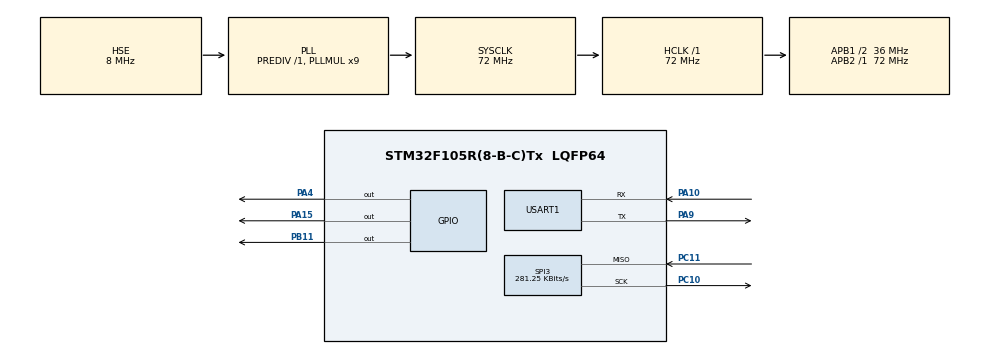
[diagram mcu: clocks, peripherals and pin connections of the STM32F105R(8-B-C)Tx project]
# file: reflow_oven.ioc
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Dma.Request0=USART1_RX
Dma.USART1_RX.0.Direction=DMA_PERIPH_TO_MEMORY
Dma.USART1_RX.0.Instance=DMA1_Channel5
Dma.USART1_RX.0.MemDataAlignment=DMA_MDATAALIGN_BYTE
Dma.USART1_RX.0.MemInc=DMA_MINC_ENABLE
Dma.USART1_RX.0.Mode=DMA_CIRCULAR
Dma.USART1_RX.0.PeriphDataAlignment=DMA_PDATAALIGN_BYTE
Dma.USART1_RX.0.PeriphInc=DMA_PINC_DISABLE
Dma.USART1_RX.0.Priority=DMA_PRIORITY_LOW
FREERTOS.Tasks01=defaultTask,0,128,StartDefaultTask,Default,NULL
Mcu.Family=STM32F1
Mcu.Name=STM32F105R(8-B-C)Tx
Mcu.Package=LQFP64
NVIC.DMA1_Channel5_IRQn=true\:5\:0\:false\:false\:true\:true\:false\:true
NVIC.PriorityGroup=NVIC_PRIORITYGROUP_4
NVIC.USART1_IRQn=true\:5\:0\:false\:false\:true\:true\:true\:true
PA10.Mode=Asynchronous
PA10.Signal=USART1_RX
PA13.Mode=Trace_Asynchronous_SW
PA13.Signal=SYS_JTMS-SWDIO
PA14.Mode=Trace_Asynchronous_SW
PA14.Signal=SYS_JTCK-SWCLK
PA15.Signal=GPIO_Output
PA4.Signal=GPIO_Output
PA9.Mode=Asynchronous
PA9.Signal=USART1_TX
PB11.Signal=GPIO_Output
PB3.Mode=Trace_Asynchronous_SW
PB3.Signal=SYS_TRACESWO
PC10.Mode=RX_Only_Simplex_Unidirect_Master
PC10.Signal=SPI3_SCK
PC11.Mode=RX_Only_Simplex_Unidirect_Master
PC11.Signal=SPI3_MISO
PC14-OSC32_IN.Mode=LSE-External-Oscillator
PC14-OSC32_IN.Signal=RCC_OSC32_IN
PC15-OSC32_OUT.Mode=LSE-External-Oscillator
PC15-OSC32_OUT.Signal=RCC_OSC32_OUT
PD0-OSC_IN.Mode=HSE-External-Oscillator
PD0-OSC_IN.Signal=RCC_OSC_IN
PD1-OSC_OUT.Mode=HSE-External-Oscillator
PD1-OSC_OUT.Signal=RCC_OSC_OUT
ProjectManager.HeapSize=0x200
ProjectManager.StackSize=0x400
ProjectManager.TargetToolchain=MDK-ARM V5
RCC.AHBFreq_Value=72000000
RCC.APB1CLKDivider=RCC_HCLK_DIV2
RCC.APB1Freq_Value=36000000
RCC.APB1TimFreq_Value=72000000
RCC.APB2Freq_Value=72000000
RCC.APB2TimFreq_Value=72000000
RCC.HCLKFreq_Value=72000000
RCC.PLLMUL=RCC_PLL_MUL9
RCC.PLLSourceVirtual=RCC_PLLSOURCE_HSE
RCC.RTCClockSelection=RCC_RTCCLKSOURCE_LSE
RCC.SYSCLKFreq_VALUE=72000000
RCC.SYSCLKSource=RCC_SYSCLKSOURCE_PLLCLK
RCC.USBFreq_Value=48000000
SPI3.BaudRatePrescaler=SPI_BAUDRATEPRESCALER_128
SPI3.CalculateBaudRate=281.25 KBits/s
SPI3.DataSize=SPI_DATASIZE_16BIT
SPI3.Direction=SPI_DIRECTION_2LINES_RXONLY
SPI3.Mode=SPI_MODE_MASTER
SPI3.VirtualType=VM_MASTER
USART1.VirtualMode=VM_ASYNC
VP_CRC_VS_CRC.Mode=CRC_Activate
VP_FREERTOS_VS_CMSIS_V1.Mode=CMSIS_V1
VP_RTC_VS_RTC_Activate.Mode=RTC_Enabled
board=custom

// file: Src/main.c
/* USER CODE BEGIN Header */
/**
  ******************************************************************************
  * @file           : main.c
  * @brief          : Main program body
  ******************************************************************************
  * @attention
  *
  * <h2><center>&copy; Copyright (c) 2019 STMicroelectronics.
  * All rights reserved.</center></h2>
  *
  * This software component is licensed by ST under BSD 3-Clause license,
  * the "License"; You may not use this file except in compliance with the
  * License. You may obtain a copy of the License at:
  *                        opensource.org/licenses/BSD-3-Clause
  *
  ******************************************************************************
  */
/* USER CODE END Header */

#include "main.h"
#include "cmsis_os.h"

CRC_HandleTypeDef hcrc;

RTC_HandleTypeDef hrtc;

SPI_HandleTypeDef hspi3;

UART_HandleTypeDef huart1;
DMA_HandleTypeDef hdma_usart1_rx;
DMA_HandleTypeDef hdma_usart1_tx;

osThreadId defaultTaskHandle;
/* USER CODE BEGIN PV */

void money_initReceiver()
{
  // настройка приема данных по uart
  // к этому моменту UART1 и DMA уже инициализированы и связаны друг с другом(через структуру hdma_usart1_rx),
  // все происходит в последнем вызове цепочки:
  //	MX_USART1_UART_Init(...) => HAL_UART_Init(...) => HAL_UART_MspInit(...)
  // чтобы обрабатывать прерывания, нужно определить функции:
  //	HAL_UART_RxHalfCpltCallback, и HAL_UART_RxCpltCallback
  // притом функция HAL_UART_RxCpltCallback, будет вызываться еще и по прерыванию UART_IT_IDLE
  //	этот вызов добавлен в функцию USART1_IRQHandler в файле stm32f1xx_it.c
  __HAL_UART_ENABLE_IT(&huart1, UART_IT_IDLE);   // enable idle line interrupt
  //__HAL_DMA_DISABLE_IT(&huart1, DMA_IT_HT);  // disable uart half tx interrupt
  RxBuf.state = BufState_USED_BY_HARDWARE;
  HAL_UART_Receive_DMA(&huart1, dmaRxBuf.arr, dmaRxBuf.size);
}

void money_initSender()
{

}

/* USER CODE END PV */

void SystemClock_Config(void);
static void MX_GPIO_Init(void);
static void MX_DMA_Init(void);
static void MX_SPI3_Init(void);
static void MX_USART1_UART_Init(void);
static void MX_RTC_Init(void);
static void MX_CRC_Init(void);
void StartDefaultTask(void const * argument);

int main(void)
{

  /* MCU Configuration--------------------------------------------------------*/

  /* Reset of all peripherals, Initializes the Flash interface and the Systick. */
  HAL_Init();

  /* USER CODE BEGIN Init */
  money_init();
  /* USER CODE END Init */

  /* Configure the system clock */
  SystemClock_Config();

  /* Initialize all configured peripherals */
  MX_GPIO_Init();
  MX_DMA_Init();
  MX_SPI3_Init();
  MX_USART1_UART_Init();
  MX_RTC_Init();
  MX_CRC_Init();
  /* USER CODE BEGIN 2 */
  money_initReceiver();
  money_initSender();
  /* USER CODE END 2 */

  /* Create the thread(s) */
  /* definition and creation of defaultTask */
  osThreadDef(defaultTask, StartDefaultTask, osPriorityNormal, 0, 128);
  defaultTaskHandle = osThreadCreate(osThread(defaultTask), NULL);

  /* USER CODE BEGIN RTOS_THREADS */
  /* add threads, ... */
  osThreadDef(receiverTask, money_taskMsgReceiver, osPriorityIdle, 0, 128);
  defaultTaskHandle = osThreadCreate(osThread(receiverTask), NULL);
  osThreadDef(senderTask, money_taskMsgSender, osPriorityIdle, 0, 128);
  defaultTaskHandle = osThreadCreate(osThread(receiverTask), NULL);

  /* USER CODE END RTOS_THREADS */

  /* Start scheduler */
  osKernelStart();

  /* We should never get here as control is now taken by the scheduler */

  /* Infinite loop */
  while (1)
  {

  }
}

void SystemClock_Config(void)
{
  RCC_OscInitTypeDef RCC_OscInitStruct = {0};
  RCC_ClkInitTypeDef RCC_ClkInitStruct = {0};
  RCC_PeriphCLKInitTypeDef PeriphClkInit = {0};

  /** Initializes the CPU, AHB and APB busses clocks
  */
  RCC_OscInitStruct.OscillatorType = RCC_OSCILLATORTYPE_HSE|RCC_OSCILLATORTYPE_LSE;
  RCC_OscInitStruct.HSEState = RCC_HSE_ON;
  RCC_OscInitStruct.HSEPredivValue = RCC_HSE_PREDIV_DIV1;
  RCC_OscInitStruct.LSEState = RCC_LSE_ON;
  RCC_OscInitStruct.HSIState = RCC_HSI_ON;
  RCC_OscInitStruct.Prediv1Source = RCC_PREDIV1_SOURCE_HSE;
  RCC_OscInitStruct.PLL.PLLState = RCC_PLL_ON;
  RCC_OscInitStruct.PLL.PLLSource = RCC_PLLSOURCE_HSE;
  RCC_OscInitStruct.PLL.PLLMUL = RCC_PLL_MUL9;
  RCC_OscInitStruct.PLL2.PLL2State = RCC_PLL_NONE;
  if (HAL_RCC_OscConfig(&RCC_OscInitStruct) != HAL_OK)
  {
    Error_Handler();
  }
  /** Initializes the CPU, AHB and APB busses clocks
  */
  RCC_ClkInitStruct.ClockType = RCC_CLOCKTYPE_HCLK|RCC_CLOCKTYPE_SYSCLK
                              |RCC_CLOCKTYPE_PCLK1|RCC_CLOCKTYPE_PCLK2;
  RCC_ClkInitStruct.SYSCLKSource = RCC_SYSCLKSOURCE_PLLCLK;
  RCC_ClkInitStruct.AHBCLKDivider = RCC_SYSCLK_DIV1;
  RCC_ClkInitStruct.APB1CLKDivider = RCC_HCLK_DIV2;
  RCC_ClkInitStruct.APB2CLKDivider = RCC_HCLK_DIV1;

  if (HAL_RCC_ClockConfig(&RCC_ClkInitStruct, FLASH_LATENCY_2) != HAL_OK)
  {
    Error_Handler();
  }
  PeriphClkInit.PeriphClockSelection = RCC_PERIPHCLK_RTC;
  PeriphClkInit.RTCClockSelection = RCC_RTCCLKSOURCE_LSE;
  if (HAL_RCCEx_PeriphCLKConfig(&PeriphClkInit) != HAL_OK)
  {
    Error_Handler();
  }
  /** Configure the Systick interrupt time
  */
  __HAL_RCC_PLLI2S_ENABLE();
}

static void MX_CRC_Init(void)
{

  hcrc.Instance = CRC;
  if (HAL_CRC_Init(&hcrc) != HAL_OK)
  {
    Error_Handler();
  }

}

static void MX_RTC_Init(void)
{

  /** Initialize RTC Only
  */
  hrtc.Instance = RTC;
  hrtc.Init.AsynchPrediv = RTC_AUTO_1_SECOND;
  hrtc.Init.OutPut = RTC_OUTPUTSOURCE_ALARM;
  if (HAL_RTC_Init(&hrtc) != HAL_OK)
  {
    Error_Handler();
  }

}

static void MX_SPI3_Init(void)
{

  /* SPI3 parameter configuration*/
  hspi3.Instance = SPI3;
  hspi3.Init.Mode = SPI_MODE_MASTER;
  hspi3.Init.Direction = SPI_DIRECTION_2LINES_RXONLY;
  hspi3.Init.DataSize = SPI_DATASIZE_16BIT;
  hspi3.Init.CLKPolarity = SPI_POLARITY_LOW;
  hspi3.Init.CLKPhase = SPI_PHASE_1EDGE;
  hspi3.Init.NSS = SPI_NSS_SOFT;
  hspi3.Init.BaudRatePrescaler = SPI_BAUDRATEPRESCALER_128;
  hspi3.Init.FirstBit = SPI_FIRSTBIT_MSB;
  hspi3.Init.TIMode = SPI_TIMODE_DISABLE;
  hspi3.Init.CRCCalculation = SPI_CRCCALCULATION_DISABLE;
  hspi3.Init.CRCPolynomial = 10;
  if (HAL_SPI_Init(&hspi3) != HAL_OK)
  {
    Error_Handler();
  }
  /* USER CODE BEGIN SPI3_Init 2 */
	HAL_GPIO_WritePin(GPIOA, GPIO_PIN_4, GPIO_PIN_SET);
  /* USER CODE END SPI3_Init 2 */

}

static void MX_USART1_UART_Init(void)
{

  huart1.Instance = USART1;
  huart1.Init.BaudRate = 115200;
  huart1.Init.WordLength = UART_WORDLENGTH_8B;
  huart1.Init.StopBits = UART_STOPBITS_1;
  huart1.Init.Parity = UART_PARITY_NONE;
  huart1.Init.Mode = UART_MODE_TX_RX;
  huart1.Init.HwFlowCtl = UART_HWCONTROL_NONE;
  huart1.Init.OverSampling = UART_OVERSAMPLING_16;
  if (HAL_UART_Init(&huart1) != HAL_OK)
  {
    Error_Handler();
  }

}

static void MX_DMA_Init(void)
{
  /* DMA controller clock enable */
  __HAL_RCC_DMA1_CLK_ENABLE();

  /* DMA interrupt init */
  /* DMA1_Channel4_IRQn interrupt configuration */
  HAL_NVIC_SetPriority(DMA1_Channel4_IRQn, 5, 0);
  HAL_NVIC_EnableIRQ(DMA1_Channel4_IRQn);
  /* DMA1_Channel5_IRQn interrupt configuration */
  HAL_NVIC_SetPriority(DMA1_Channel5_IRQn, 5, 0);
  HAL_NVIC_EnableIRQ(DMA1_Channel5_IRQn);

}

static void MX_GPIO_Init(void)
{
  GPIO_InitTypeDef GPIO_InitStruct = {0};

  /* GPIO Ports Clock Enable */
  __HAL_RCC_GPIOC_CLK_ENABLE();
  __HAL_RCC_GPIOD_CLK_ENABLE();
  __HAL_RCC_GPIOA_CLK_ENABLE();
  __HAL_RCC_GPIOB_CLK_ENABLE();

  /*Configure GPIO pin Output Level */
  HAL_GPIO_WritePin(GPIOA, GPIO_PIN_4|GPIO_PIN_15, GPIO_PIN_RESET);

  /*Configure GPIO pin Output Level */
  HAL_GPIO_WritePin(GPIOB, GPIO_PIN_11, GPIO_PIN_RESET);

  /*Configure GPIO pins : PA4 PA15 */
  GPIO_InitStruct.Pin = GPIO_PIN_4|GPIO_PIN_15;
  GPIO_InitStruct.Mode = GPIO_MODE_OUTPUT_PP;
  GPIO_InitStruct.Pull = GPIO_NOPULL;
  GPIO_InitStruct.Speed = GPIO_SPEED_FREQ_LOW;
  HAL_GPIO_Init(GPIOA, &GPIO_InitStruct);

  /*Configure GPIO pin : PB11 */
  GPIO_InitStruct.Pin = GPIO_PIN_11;
  GPIO_InitStruct.Mode = GPIO_MODE_OUTPUT_PP;
  GPIO_InitStruct.Pull = GPIO_NOPULL;
  GPIO_InitStruct.Speed = GPIO_SPEED_FREQ_LOW;
  HAL_GPIO_Init(GPIOB, &GPIO_InitStruct);

}

/* USER CODE BEGIN 4 */
// частично позаимствовано отсюда:
// https://github.com/akospasztor/stm32-dma-uart/blob/master/Src/main.c

typedef enum {
	NRC_EVENT_HALF_BUF, // счетчик dma на середине буфера
	NRC_EVENT_FULL_BUF, // счетчик dma в конце буфера
	NRC_EVENT_TRANSFER_COMPLETED // передача/прием данных завершен(а) - поймано прерывание IDLE_LINE
} NRC_UART_EventType;

void NRC_UART_RxEvent(NRC_UART_EventType event)
{
	uint16_t start, length;
	static bool RxUartDmaOveflow = false; // буфер приема переполнен(слишком большое сообщение), в этом случае дожидаемся конца приема и сбрасываем буфер
	uint16_t currCNDTR = __HAL_DMA_GET_COUNTER(&hdma_usart1_rx);

	/* Determine start position in DMA buffer based on previous CNDTR value */
	start = (dmaRxBuf.prevCNDTR < dmaRxBuf.size) ? (dmaRxBuf.size - dmaRxBuf.prevCNDTR) : 0;

	if (event == NRC_EVENT_TRANSFER_COMPLETED) {
		length = (dmaRxBuf.prevCNDTR < dmaRxBuf.size) ? (dmaRxBuf.prevCNDTR - currCNDTR) : (dmaRxBuf.size - currCNDTR);
		dmaRxBuf.prevCNDTR = currCNDTR;
	}
	else if (event == NRC_EVENT_HALF_BUF) { /* DMA Rx Half event */
		length = (dmaRxBuf.size >> 1) - start;
		dmaRxBuf.prevCNDTR = (dmaRxBuf.size >> 1);
	}
	else if (event == NRC_EVENT_FULL_BUF) { /* DMA Rx Complete event */
		length = dmaRxBuf.size - start;
		dmaRxBuf.prevCNDTR = dmaRxBuf.size;
	}
	nrcPrintfV("RxBuf.countBytes == %d, length == %d\n", RxBuf.countBytes, length);

	/* Copy and Process new data */
	if (RxBuf.state == BufState_USED_BY_HARDWARE) {
		if (RxBuf.countBytes + length <= RxBuf.size) {
			memcpy(&RxBuf.arr[RxBuf.countBytes], &dmaRxBuf.arr[start], length);
			RxBuf.countBytes += length;
		}
		else {
			RxUartDmaOveflow = true;
		}

		if (event == NRC_EVENT_TRANSFER_COMPLETED) {
			if (RxUartDmaOveflow) {
				// если по ходу передачи буфер был переполнен, то просто игнорируем принятые данные и ждем новых
				RxBuf.countBytes = 0;
				RxUartDmaOveflow = false;
			}
			else {
				RxBuf.state = BufState_UPDATED;
				xSemaphoreGiveFromISR(RxBuf.sem, NULL); // буфером можно пользоваться
				nrcLog("Received %d bytes", RxBuf.countBytes);
			}
		}
	}
}

void HAL_UART_RxCpltCallback(UART_HandleTypeDef *huart)
{
	if (huart->Instance == USART1) {
		if (__HAL_UART_GET_FLAG(&huart1, UART_FLAG_IDLE)) {
			NRC_UART_RxEvent(NRC_EVENT_TRANSFER_COMPLETED);
		}
		else {
			NRC_UART_RxEvent(NRC_EVENT_FULL_BUF);
		}
	}
}

void HAL_UART_RxHalfCallback(UART_HandleTypeDef *huart)
{
	if (huart->Instance == USART1) {
		NRC_UART_RxEvent(NRC_EVENT_HALF_BUF);
	}
}

// прерывание по завершению ОТПРАВКИ сообщения
void HAL_UART_TxCpltCallback(UART_HandleTypeDef *huart)
{
	if (huart->Instance == USART1) {
		TxBuf.state = BufState_NEED_UPDATE;
		xSemaphoreGiveFromISR(TxBuf.sem, NULL);
	}
}

/* USER CODE END 4 */

void StartDefaultTask(void const * argument)
{

  /* USER CODE BEGIN 5 */
  /* Infinite loop */
	money_defaultTask(argument);
  /* USER CODE END 5 */
}

void Error_Handler(void)
{
}

/************************ (C) COPYRIGHT STMicroelectronics *****END OF FILE****/
